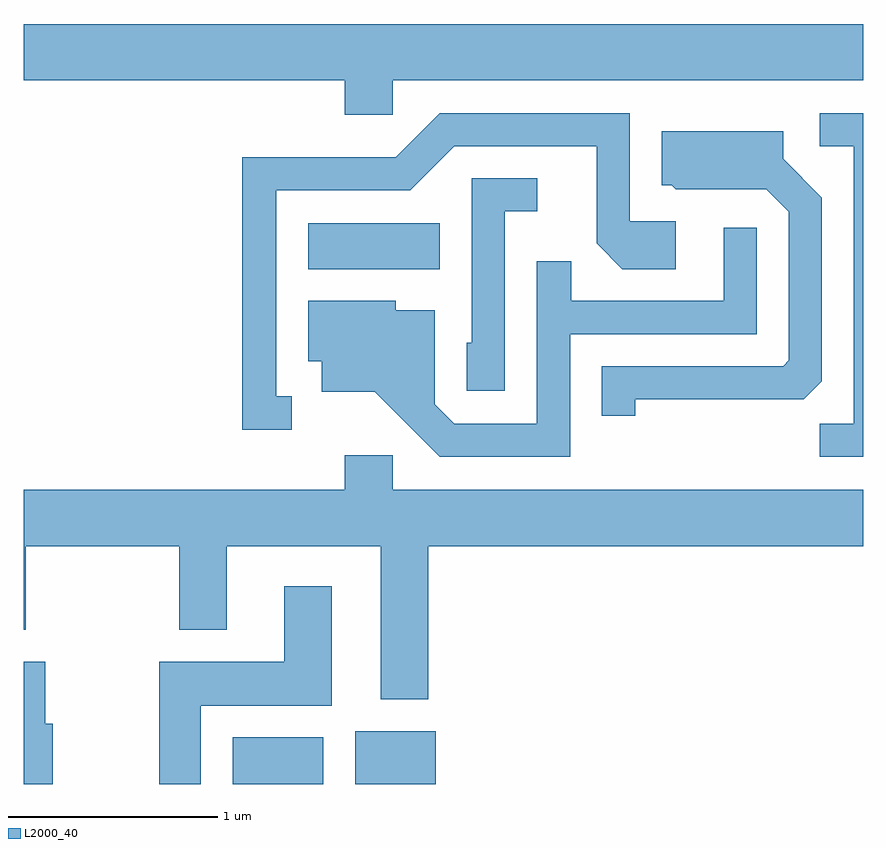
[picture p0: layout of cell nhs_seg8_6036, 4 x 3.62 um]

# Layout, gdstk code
import gdstk
lib = gdstk.Library(unit=1e-6, precision=1e-09)
def R(c, l, rs):  # rectangles x0, y0, x1, y1
    for r in rs: c.add(gdstk.rectangle(r[:2], r[2:], *l))
def P(c, l, *ps):  # polygons
    for p in ps: c.add(gdstk.Polygon(p, *l))
L2000_40 = (2000, 40)

nhs_seg8_6036 = lib.new_cell('nhs_seg8_6036')
R(nhs_seg8_6036, L2000_40, [(366.606,1886.342,367.039,1886.564), (367.191,1886.342,367.574,1886.594), (366.966,1888.796,367.594,1889.014)])
P(nhs_seg8_6036, L2000_40, [(367.369,1889.696),(369.611,1889.696),(369.611,1889.964),(365.611,1889.964),(365.611,1889.696),(367.141,1889.696),(367.141,1889.531),(367.369,1889.531)],
  [(366.888,1888.189),(366.814,1888.189),(366.814,1889.171),(367.452,1889.171),(367.662,1889.381),(368.341,1889.381),(368.341,1888.919),(368.464,1888.796),(368.719,1888.796),(368.719,1889.024),(368.499,1889.024),(368.499,1889.539),(367.594,1889.539),(367.384,1889.329),(366.651,1889.329),(366.651,1888.031),(366.888,1888.031)],
  [(369.611,1889.539),(369.403,1889.539),(369.403,1889.381),(369.566,1889.381),(369.566,1888.059),(369.403,1888.059),(369.403,1887.901),(369.611,1887.901)],
  [(368.524,1888.176),(369.329,1888.176),(369.414,1888.262),(369.414,1889.137),(369.229,1889.322),(369.229,1889.454),(368.651,1889.454),(368.651,1889.196),(368.699,1889.196),(368.719,1889.176),(369.149,1889.176),(369.256,1889.069),(369.256,1888.362),(369.229,1888.334),(368.366,1888.334),(368.366,1888.098),(368.524,1888.098)],
  [(367.904,1889.071),(368.058,1889.071),(368.058,1889.229),(367.746,1889.229),(367.746,1888.444),(367.721,1888.444),(367.721,1888.216),(367.904,1888.216)],
  [(368.214,1888.486),(369.104,1888.486),(369.104,1888.993),(368.946,1888.993),(368.946,1888.644),(368.219,1888.644),(368.219,1888.833),(368.056,1888.833),(368.056,1888.059),(367.662,1888.059),(367.569,1888.152),(367.569,1888.599),(367.384,1888.599),(367.384,1888.644),(366.966,1888.644),(366.966,1888.356),(367.031,1888.356),(367.031,1888.211),(367.284,1888.211),(367.594,1887.901),(368.214,1887.901)],
  [(367.539,1887.476),(369.611,1887.476),(369.611,1887.744),(367.369,1887.744),(367.369,1887.909),(367.141,1887.909),(367.141,1887.744),(365.611,1887.744),(365.611,1887.076),(365.619,1887.076),(365.619,1887.476),(366.351,1887.476),(366.351,1887.076),(366.579,1887.076),(366.579,1887.476),(367.311,1887.476),(367.311,1886.746),(367.539,1886.746)],
  [(366.454,1886.716),(367.079,1886.716),(367.079,1887.284),(366.851,1887.284),(366.851,1886.924),(366.256,1886.924),(366.256,1886.342),(366.454,1886.342)],
  [(365.749,1886.629),(365.714,1886.629),(365.714,1886.924),(365.611,1886.924),(365.611,1886.342),(365.749,1886.342)])

lib.write_gds('nhs_seg8_6036.gds')
